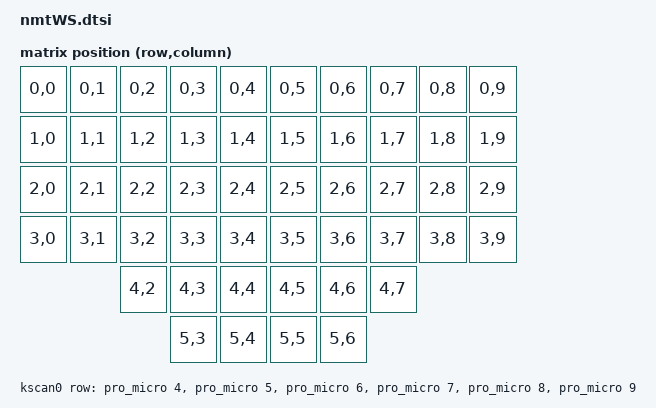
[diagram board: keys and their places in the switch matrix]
#include <dt-bindings/zmk/matrix_transform.h>

/ {
    chosen {
        zmk,kscan = &kscan0;
        zmk,matrix-transform = &default_transform;
    };

    default_transform: keymap_transform_0 {
        compatible = "zmk,matrix-transform";
        columns = <10>;
        rows = <6>;
// | S01 | S02 | S03 | S04 | S05 |   | S05 | S04 | S03 | S02 | S01 |
// | S06 | S07 | S08 | S09 | S10 |   | S10 | S09 | S08 | S07 | S06 |
// | S11 | S12 | S13 | S14 | S15 |   | S15 | S14 | S13 | S12 | S11 |
// | S16 | S17 | S18 | S19 | S20 |   | S20 | S19 | S18 | S17 | S16 |
//             | S21 | S22 | S23 |   | S23 | S22 | S21 |
//                   | S24 | S25 |   | S25 | S24 |
        map = <
RC(0,0) RC(0,1) RC(0,2) RC(0,3) RC(0,4) RC(0,5) RC(0,6) RC(0,7) RC(0,8) RC(0,9)
RC(1,0) RC(1,1) RC(1,2) RC(1,3) RC(1,4) RC(1,5) RC(1,6) RC(1,7) RC(1,8) RC(1,9)
RC(2,0) RC(2,1) RC(2,2) RC(2,3) RC(2,4) RC(2,5) RC(2,6) RC(2,7) RC(2,8) RC(2,9)
RC(3,0) RC(3,1) RC(3,2) RC(3,3) RC(3,4) RC(3,5) RC(3,6) RC(3,7) RC(3,8) RC(3,9)
                RC(4,2) RC(4,3) RC(4,4) RC(4,5) RC(4,6) RC(4,7)
                        RC(5,3) RC(5,4) RC(5,5) RC(5,6)
        >;
    };

    kscan0: kscan {
        compatible = "zmk,kscan-gpio-matrix";

        diode-direction = "col2row";
        row-gpios
            = <&pro_micro 4 (GPIO_ACTIVE_HIGH | GPIO_PULL_DOWN)> // Row 1 from the schematic file
            , <&pro_micro 5 (GPIO_ACTIVE_HIGH | GPIO_PULL_DOWN)> // Row 2 from the schematic file
            , <&pro_micro 6 (GPIO_ACTIVE_HIGH | GPIO_PULL_DOWN)> // Row 3 from the schematic file
            , <&pro_micro 7 (GPIO_ACTIVE_HIGH | GPIO_PULL_DOWN)> // Row 4 from the schematic file
            , <&pro_micro 8 (GPIO_ACTIVE_HIGH | GPIO_PULL_DOWN)> // Row 5 from the schematic file
            , <&pro_micro 9 (GPIO_ACTIVE_HIGH | GPIO_PULL_DOWN)> // Row 6 from the schematic file
            ;

    };
};
